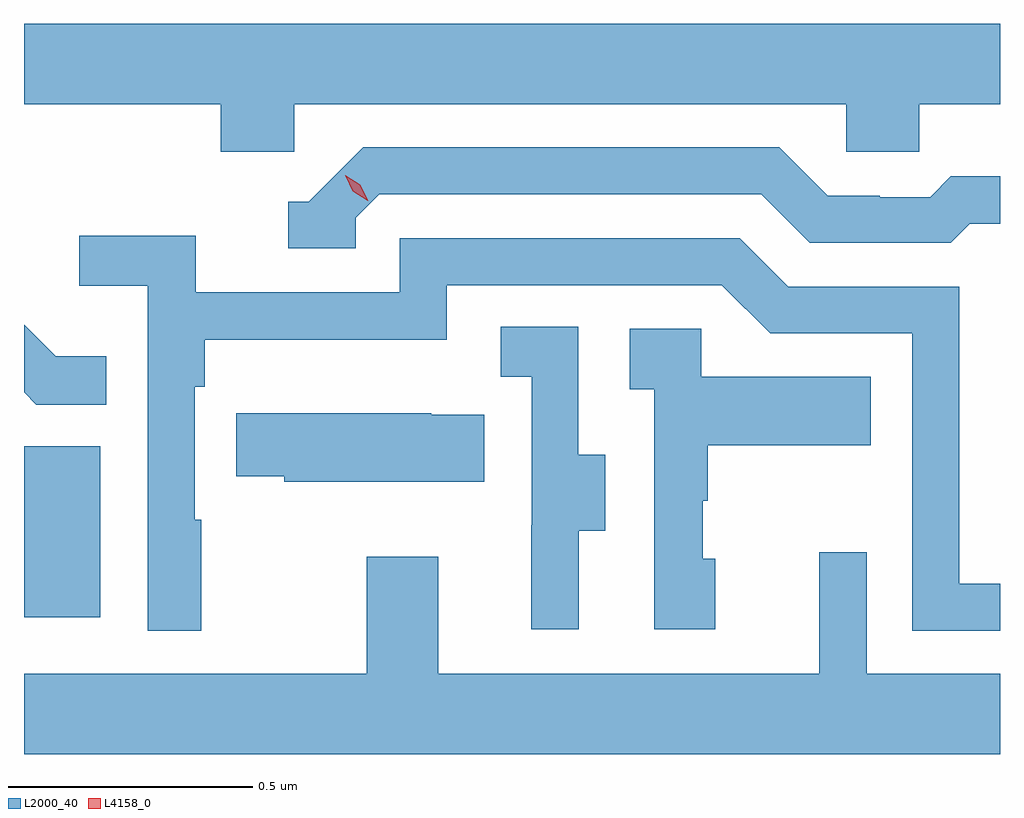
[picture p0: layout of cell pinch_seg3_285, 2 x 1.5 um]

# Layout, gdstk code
import gdstk
lib = gdstk.Library(unit=1e-6, precision=1e-09)
def R(c, l, rs):  # rectangles x0, y0, x1, y1
    for r in rs: c.add(gdstk.rectangle(r[:2], r[2:], *l))
def P(c, l, *ps):  # polygons
    for p in ps: c.add(gdstk.Polygon(p, *l))
L2000_40 = (2000, 40)
L4158_0 = (4158, 0)

pinch_seg3_285 = lib.new_cell('pinch_seg3_285')
R(pinch_seg3_285, L2000_40, [(933.688,715.848,933.844,716.199)])
P(pinch_seg3_285, L2000_40, [(934.242,716.9),(935.373,716.9),(935.373,716.802),(935.523,716.802),(935.523,716.9),(935.688,716.9),(935.688,717.064),(933.688,717.064),(933.688,716.9),(934.091,716.9),(934.091,716.802),(934.242,716.802)],
  [(934.368,716.667),(934.416,716.715),(935.199,716.715),(935.298,716.616),(935.587,716.616),(935.626,716.655),(935.688,716.655),(935.688,716.752),(935.587,716.752),(935.545,716.709),(935.442,716.709),(935.442,716.712),(935.335,716.712),(935.236,716.811),(934.383,716.811),(934.272,716.7),(934.229,716.7),(934.229,716.604),(934.368,716.604)],
  [(934.051,716.048),(934.038,716.048),(934.038,716.321),(934.058,716.321),(934.058,716.417),(934.554,716.417),(934.554,716.529),(935.118,716.529),(935.217,716.43),(935.508,716.43),(935.508,715.821),(935.688,715.821),(935.688,715.917),(935.604,715.917),(935.604,716.526),(935.254,716.526),(935.155,716.625),(934.458,716.625),(934.458,716.514),(934.04,716.514),(934.04,716.63),(933.801,716.63),(933.801,716.528),(933.942,716.528),(933.942,715.821),(934.051,715.821)],
  [(933.857,716.383),(933.753,716.383),(933.688,716.448),(933.688,716.309),(933.713,716.284),(933.857,716.284)],
  [(934.825,716.026),(934.879,716.026),(934.879,716.181),(934.824,716.181),(934.824,716.444),(934.665,716.444),(934.665,716.341),(934.728,716.341),(934.728,716.037),(934.727,716.037),(934.727,715.824),(934.825,715.824)],
  [(935.104,715.968),(935.079,715.968),(935.079,716.087),(935.089,716.087),(935.089,716.201),(935.423,716.201),(935.423,716.341),(935.076,716.341),(935.076,716.439),(934.929,716.439),(934.929,716.315),(934.98,716.315),(934.98,715.824),(935.104,715.824)],
  [(934.631,716.263),(934.523,716.263),(934.523,716.266),(934.123,716.266),(934.123,716.137),(934.221,716.137),(934.221,716.126),(934.631,716.126)],
  [(935.688,715.732),(935.415,715.732),(935.415,715.981),(935.318,715.981),(935.318,715.732),(934.537,715.732),(934.537,715.972),(934.39,715.972),(934.39,715.732),(933.688,715.732),(933.688,715.568),(935.688,715.568)])
P(pinch_seg3_285, L4158_0, [(934.392,716.702),(934.362,716.721),(934.346,716.754),(934.346,716.754),(934.346,716.754),(934.377,716.735),(934.393,716.702),(934.393,716.702)])

lib.write_gds('pinch_seg3_285.gds')
